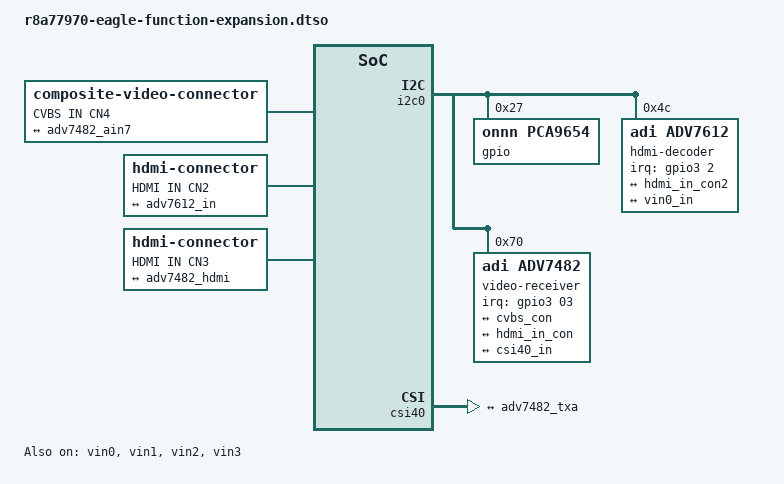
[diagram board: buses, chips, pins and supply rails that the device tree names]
// SPDX-License-Identifier: GPL-2.0
/*
 * Device Tree Source for the Eagle V3M Function expansion board.
 *
 * Copyright (C) 2024 Niklas Söderlund <niklas.soderlund@ragnatech.se>
 */

/dts-v1/;
/plugin/;

#include <dt-bindings/gpio/gpio.h>
#include <dt-bindings/interrupt-controller/irq.h>

/ {
	/* CN4 */
	/* Eagle: SW18 set to OFF */
	cvbs-in-cn4 {
		compatible = "composite-video-connector";
		label = "CVBS IN CN4";

		port {
			cvbs_con: endpoint {
				remote-endpoint = <&adv7482_ain7>;
			};
		};
	};

	/* CN2 */
	/* Eagle: SW35 set 5, 6 and 8 to OFF */
	hdmi-in-cn2 {
		compatible = "hdmi-connector";
		label = "HDMI IN CN2";
		type = "a";

		port {
			hdmi_in_con2: endpoint {
				remote-endpoint = <&adv7612_in>;
			};
		};
	};

	/* CN3 */
	/* Eagle: SW18 set to OFF */
	hdmi-in-cn3 {
		compatible = "hdmi-connector";
		label = "HDMI IN CN3";
		type = "a";

		port {
			hdmi_in_con: endpoint {
				remote-endpoint = <&adv7482_hdmi>;
			};
		};
	};
};

/* Disconnect MAX9286 GMSL I2C. */
&i2c3 {
	status = "disabled";
};

/* Connect expansion board I2C. */
&i2c0 {
	#address-cells = <1>;
	#size-cells = <0>;

	gpio@27 {
		compatible = "onnn,pca9654";
		reg = <0x27>;
		gpio-controller;
		#gpio-cells = <2>;

		vin0_adv7612_en {
			gpio-hog;
			gpios = <3 GPIO_ACTIVE_LOW>;
			output-high;
			line-name = "VIN0_ADV7612_ENn";
		};
	};

	hdmi-decoder@4c {
		compatible = "adi,adv7612";
		reg = <0x4c>, <0x50>, <0x52>, <0x54>, <0x56>, <0x58>;
		reg-names = "main", "afe", "rep", "edid", "hdmi", "cp";
		interrupt-parent = <&gpio3>;
		interrupts = <2 IRQ_TYPE_LEVEL_LOW>;
		default-input = <0>;

		ports {
			#address-cells = <1>;
			#size-cells = <0>;

			port@0 {
				reg = <0>;

				adv7612_in: endpoint {
					remote-endpoint = <&hdmi_in_con2>;
				};
			};

			port@2 {
				reg = <2>;

				adv7612_out: endpoint {
					remote-endpoint = <&vin0_in>;
				};
			};
		};
	};

	video-receiver@70 {
		compatible = "adi,adv7482";
		reg = <0x70 0x71 0x72 0x73 0x74 0x75
		       0x60 0x61 0x62 0x63 0x64 0x65>;
		reg-names = "main", "dpll", "cp", "hdmi", "edid", "repeater",
			    "infoframe", "cbus", "cec", "sdp", "txa", "txb" ;
		interrupt-parent = <&gpio3>;
		interrupts = <03 IRQ_TYPE_LEVEL_LOW>, <04 IRQ_TYPE_LEVEL_LOW>;
		interrupt-names = "intrq1", "intrq2";

		ports {
			#address-cells = <1>;
			#size-cells = <0>;

			port@7 {
				reg = <7>;

				adv7482_ain7: endpoint {
					remote-endpoint = <&cvbs_con>;
				};
			};

			port@8 {
				reg = <8>;

				adv7482_hdmi: endpoint {
					remote-endpoint = <&hdmi_in_con>;
				};
			};

			port@a {
				reg = <10>;

				adv7482_txa: endpoint {
					clock-lanes = <0>;
					data-lanes = <1 2 3 4>;
					remote-endpoint = <&csi40_in>;
				};
			};
		};
	};

};

&csi40 {
	status = "okay";

	ports {
		#address-cells = <1>;
		#size-cells = <0>;

		port@0 {
			reg = <0>;

			csi40_in: endpoint {
				clock-lanes = <0>;
				data-lanes = <1 2 3 4>;
				remote-endpoint = <&adv7482_txa>;
			};
		};
	};
};

&pfc {
	vin0_pins_parallel: vin0 {
		groups = "vin0_data12", "vin0_sync", "vin0_clk", "vin0_clkenb";
		function = "vin0";
	};
};

&vin0 {
	status = "okay";

	pinctrl-0 = <&vin0_pins_parallel>;
	pinctrl-names = "default";

	ports {
		#address-cells = <1>;
		#size-cells = <0>;

		port@0 {
			reg = <0>;

			vin0_in: endpoint {
				pclk-sample = <0>;
				hsync-active = <0>;
				vsync-active = <0>;
				remote-endpoint = <&adv7612_out>;
			};
		};
	};
};

&vin1 {
	status = "okay";
};

&vin2 {
	status = "okay";
};

&vin3 {
	status = "okay";
};
